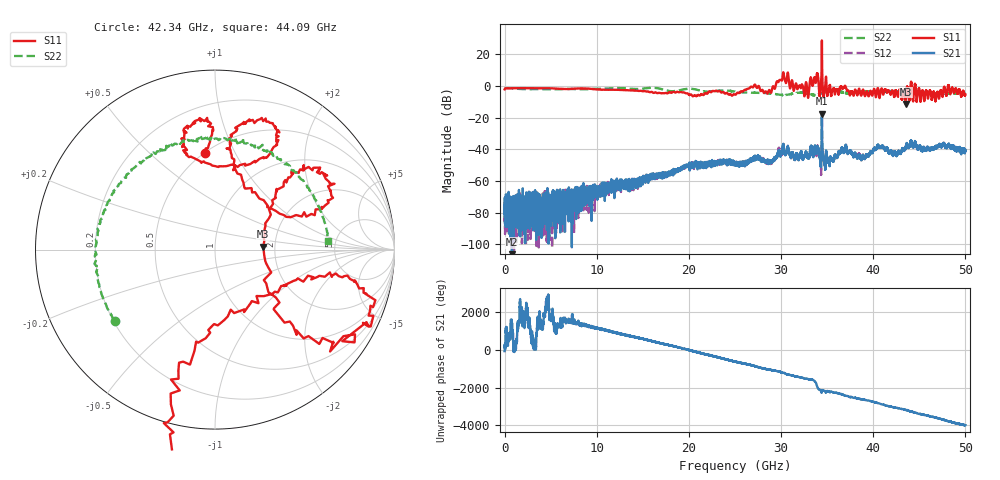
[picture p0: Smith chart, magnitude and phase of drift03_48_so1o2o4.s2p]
!Created with skrf (http://scikit-rf.org).
# Hz S RI R 50.0
!freq ReS11 ImS11 ReS21 ImS21 ReS12 ImS12 ReS22 ImS22
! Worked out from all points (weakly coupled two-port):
!   10000 points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, 5.3 MHz to 50 GHz, reference 50 ohm
!   highest |S21| = -17.44 dB at 34.43 GHz (marker M1); lowest = -114.9 dB at 795.3 MHz (marker M2)
!   lowest |S11| = -11.4 dB at 43.52 GHz (marker M3), VSWR 1.74, Z = 86.8 + j3.05 ohm
!   |S11| at or under -10 dB: 43.4849 GHz to 43.541 GHz (56.1 MHz wide, 0.129 % of centre); 44.70762 GHz to 44.71051 GHz (2.897 MHz wide, 0.00648 % of centre)
!   |S22| runs from -5.8 to -1.1 dB; largest |S21 - S12| = 0.025
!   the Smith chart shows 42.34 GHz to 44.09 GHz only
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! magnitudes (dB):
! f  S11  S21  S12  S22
! 5.3 MHz  -2.1  -76.9  -74.0  -1.3
! 795.3 MHz  -1.4  -114.9  -75.1  -1.5
! 4.91 GHz  -1.4  -76.6  -79.0  -2.1
! 8.34 GHz  -1.5  -71.6  -69.9  -2.1
! 16.67 GHz  -4.4  -56.3  -56.5  -1.4
! 20.81 GHz  -6.4  -49.6  -49.6  -2.3
! 25.01 GHz  -5.5  -48.3  -49.5  -3.5
! 27.02 GHz  -0.3  -44.9  -45.7  -4.2
! 28.72 GHz  -2.5  -48.4  -48.0  -4.5
! 30.14 GHz  4.5  -40.8  -40.3  -5.7
! 32.74 GHz  2.0  -42.4  -42.1  -4.6
! 33.34 GHz  2.5  -39.7  -40.3  -5.6
! 33.82 GHz  4.0  -42.4  -42.4  -5.7
! 34.43 GHz  28.8  -17.4  -18.7  -4.5
! 35.3 GHz  0.6  -47.3  -46.5  -3.4
! 36.84 GHz  -0.6  -42.3  -41.6  -4.1
! 38.87 GHz  -2.4  -43.6  -44.0  -3.2
! 40.6 GHz  -4.4  -37.9  -38.0  -4.0
! 41.67 GHz  -2.9  -42.0  -42.1  -3.4
! 43.52 GHz  -11.4  -39.1  -39.2  -4.2
! 48.32 GHz  -4.5  -37.7  -37.9  -4.5
! 50 GHz  -5.3  -40.9  -40.2  -4.5
